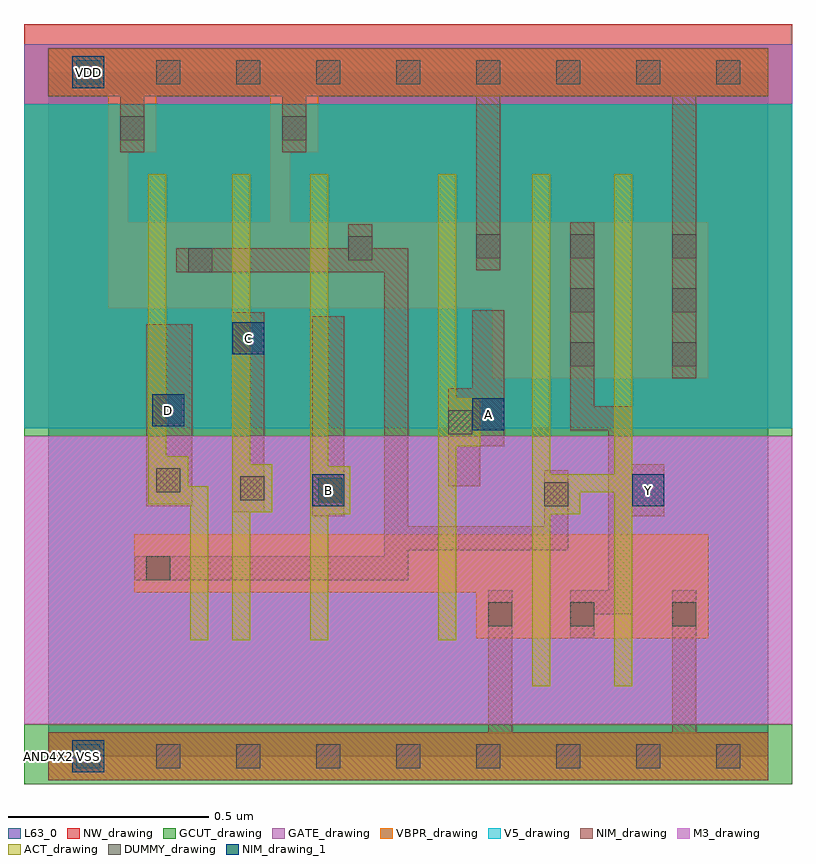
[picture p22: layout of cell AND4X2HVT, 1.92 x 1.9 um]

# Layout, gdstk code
import gdstk
lib = gdstk.Library(unit=1e-6, precision=5e-10)
def R(c, l, rs):  # rectangles x0, y0, x1, y1
    for r in rs: c.add(gdstk.rectangle(r[:2], r[2:], *l))
def A(c, l, x, y, w, h, nx, ny, dx, dy):  # array of equal rectangles
    R(c, l, [(x+i*dx, y+j*dy, x+i*dx+w, y+j*dy+h) for i in range(nx) for j in range(ny)])
def P(c, l, *ps):  # polygons
    for p in ps: c.add(gdstk.Polygon(p, *l))
VBPR_drawing = (1, 0)
NW_drawing = (2, 0)
ACT_drawing = (3, 0)
GATE_drawing = (4, 0)
GCUT_drawing = (5, 0)
DUMMY_drawing = (6, 0)
NIM_drawing = (7, 0)
NIM_drawing_1 = (7, 1)
M3_drawing = (18, 0)
V5_drawing = (23, 0)
L63_0 = (63, 0)

and4x2hvt = lib.new_cell('AND4X2HVT')
R(and4x2hvt, VBPR_drawing, [(0,-0.06,1.8,0.06), (0,-0.06,1.8,0.06), (0,1.65,1.8,1.77)])
P(and4x2hvt, VBPR_drawing, [(0,1.77),(1.8,1.77),(1.8,1.65),(0.675,1.65),(0.675,1.51),(0.605,1.51),(0.605,1.335),(1.65,1.335),(1.65,0.945),(1.11,0.945),(1.11,1.12),(0.15,1.12),(0.15,1.65),(0.27,1.65),(0.27,1.51),(0.2,1.51),(0.2,1.335),(0.555,1.335),(0.555,1.65),(0,1.65)],
  [(0.215,0.555),(1.65,0.555),(1.65,0.295),(1.07,0.295),(1.07,0.41),(0.215,0.41)])
R(and4x2hvt, NW_drawing, [(-0.06,0.82,1.86,1.83)])
P(and4x2hvt, ACT_drawing, [(0.25,1.455),(0.295,1.455),(0.295,0.75),(0.35,0.75),(0.35,0.675),(0.4,0.675),(0.4,0.29),(0.355,0.29),(0.355,0.63),(0.25,0.63)],
  [(0.46,1.455),(0.505,1.455),(0.505,0.73),(0.56,0.73),(0.56,0.61),(0.505,0.61),(0.505,0.29),(0.46,0.29)],
  [(0.655,1.455),(0.7,1.455),(0.7,0.725),(0.755,0.725),(0.755,0.605),(0.7,0.605),(0.7,0.29),(0.655,0.29)],
  [(0.975,1.455),(1.02,1.455),(1.02,0.895),(1.08,0.895),(1.08,0.775),(1.02,0.775),(1.02,0.29),(0.975,0.29)],
  [(1.21,1.455),(1.255,1.455),(1.255,0.705),(1.415,0.705),(1.415,1.455),(1.46,1.455),(1.46,0.175),(1.415,0.175),(1.415,0.66),(1.33,0.66),(1.33,0.605),(1.255,0.605),(1.255,0.175),(1.21,0.175)])
R(and4x2hvt, GATE_drawing, [(-0.06,0.08,1.86,0.8), (-0.06,1.63,1.86,1.78)])
R(and4x2hvt, GCUT_drawing, [(-0.06,-0.07,1.86,0.08), (-0.06,0.8,1.86,1.63)])
A(and4x2hvt, DUMMY_drawing, 0.07, -0.03, 0.06, 0.06, 9, 2, 0.2, 1.71)
A(and4x2hvt, DUMMY_drawing, 1.305, 0.975, 0.06, 0.06, 1, 3, 0, 0.135)
A(and4x2hvt, DUMMY_drawing, 1.56, 0.975, 0.06, 0.06, 1, 3, 0, 0.135)
R(and4x2hvt, DUMMY_drawing, [(1.1,0.325,1.16,0.385), (1.305,0.325,1.365,0.385), (1.56,0.325,1.62,0.385), (0.245,0.44,0.305,0.5), (1.24,0.625,1.3,0.685), (0.675,0.635,0.735,0.695), (0.48,0.64,0.54,0.7), (0.27,0.66,0.33,0.72), (1,0.805,1.06,0.865), (0.35,1.21,0.41,1.27), (0.75,1.24,0.81,1.3), (1.07,1.245,1.13,1.305), (0.18,1.54,0.24,1.6), (0.585,1.54,0.645,1.6)])
R(and4x2hvt, NIM_drawing, [(0.66,0.6,0.74,1.1), (0.46,0.61,0.54,1.11), (0.245,0.625,0.36,1.08)])
P(and4x2hvt, NIM_drawing, [(0,1.77),(1.8,1.77),(1.8,1.65),(1.62,1.65),(1.62,0.945),(1.56,0.945),(1.56,1.65),(1.13,1.65),(1.13,1.215),(1.07,1.215),(1.07,1.65),(0.645,1.65),(0.645,1.51),(0.585,1.51),(0.585,1.65),(0.24,1.65),(0.24,1.51),(0.18,1.51),(0.18,1.65),(0,1.65)],
  [(0.75,1.33),(0.81,1.33),(0.81,1.27),(0.9,1.27),(0.9,0.575),(1.24,0.575),(1.24,0.715),(1.3,0.715),(1.3,0.515),(0.9,0.515),(0.9,0.44),(0.215,0.44),(0.215,0.5),(0.84,0.5),(0.84,1.21),(0.32,1.21),(0.32,1.27),(0.75,1.27)],
  [(1.305,1.335),(1.365,1.335),(1.365,0.875),(1.46,0.875),(1.46,0.73),(1.54,0.73),(1.54,0.6),(1.46,0.6),(1.46,0.355),(1.365,0.355),(1.365,0.295),(1.305,0.295),(1.305,0.415),(1.4,0.415),(1.4,0.815),(1.305,0.815)],
  [(1.06,1.115),(1.14,1.115),(1.14,0.775),(1.08,0.775),(1.08,0.675),(1,0.675),(1,0.92),(1.06,0.92)],
  [(1.1,0.415),(1.16,0.415),(1.16,0.06),(1.56,0.06),(1.56,0.415),(1.62,0.415),(1.62,0.06),(1.8,0.06),(1.8,-0.06),(0,-0.06),(0,0.06),(1.1,0.06)])
R(and4x2hvt, NIM_drawing_1, [(0.06,-0.04,0.14,0.04), (0.66,0.625,0.74,0.705), (1.46,0.625,1.54,0.705), (1.06,0.815,1.14,0.895), (0.26,0.825,0.34,0.905), (0.46,1.005,0.54,1.085), (0.06,1.67,0.14,1.75)])
R(and4x2hvt, M3_drawing, [(-0.06,0.08,1.86,0.8)])
R(and4x2hvt, V5_drawing, [(-0.06,0.82,1.86,1.63)])
R(and4x2hvt, L63_0, [(0,0,1.8,1.71)])
and4x2hvt.add(gdstk.FlexPath([(0,0),(1.8,0)], 0.12, ends="flush", simple_path=True, layer=7, datatype=0))  # NIM_drawing
and4x2hvt.add(gdstk.FlexPath([(0,1.71),(1.8,1.71)], 0.12, ends="flush", simple_path=True, layer=7, datatype=0))  # NIM_drawing
and4x2hvt.add(gdstk.Label('Y', (1.5,0.665), layer=7, texttype=1))
and4x2hvt.add(gdstk.Label('A', (1.1,0.855), layer=7, texttype=1))
and4x2hvt.add(gdstk.Label('B', (0.7,0.665), layer=7, texttype=1))
and4x2hvt.add(gdstk.Label('C', (0.5,1.045), layer=7, texttype=1))
and4x2hvt.add(gdstk.Label('D', (0.3,0.865), layer=7, texttype=1))
and4x2hvt.add(gdstk.Label('VDD', (0.1,1.71), layer=7, texttype=1))
and4x2hvt.add(gdstk.Label('VSS', (0.1,0), layer=7, texttype=1))
and4x2hvt.add(gdstk.Label('VDD', (0.1,1.71), layer=7, texttype=1))
and4x2hvt.add(gdstk.Label('D', (0.3,0.865), layer=7, texttype=1))
and4x2hvt.add(gdstk.Label('C', (0.5,1.045), layer=7, texttype=1))
and4x2hvt.add(gdstk.Label('B', (0.7,0.665), layer=7, texttype=1))
and4x2hvt.add(gdstk.Label('A', (1.1,0.855), layer=7, texttype=1))
and4x2hvt.add(gdstk.Label('Y', (1.5,0.665), layer=7, texttype=1))
and4x2hvt.add(gdstk.Label('VSS', (0.1,0), layer=7, texttype=1))
and4x2hvt.add(gdstk.Label('AND4X2', (0,0), layer=63, texttype=0))

lib.write_gds('AND4X2HVT.gds')
